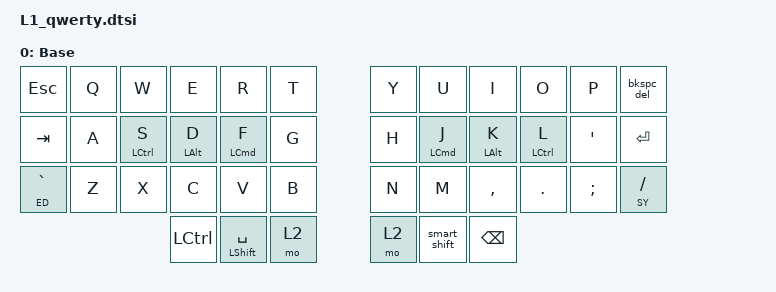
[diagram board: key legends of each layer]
/**
 * Alpha Layer - QWERTY (Base)
 * Optimized for developer workflow with quick access to common keys
 */

/ {
  keymap {
    compatible = "zmk,keymap";

    qwerty_layer {
      display-name = "Base";
      bindings = <
// ╭───────────────┬───────────────┬───────────────┬───────────────┬───────────────┬───────────────╮   ╭───────────────┬───────────────┬───────────────┬───────────────┬───────────────┬───────────────╮
// │0              │1              │2              │3              │4              │5              │   │6              │7              │8              │9              │10             │11             │
    &kp ESC         &kp Q           &kp W           &kp E           &kp R           &kp T               &kp Y           &kp U           &kp I           &kp O           &kp P           &bkspc_del
// ├───────────────├───────────────┼───────────────┼───────────────┼───────────────┼───────────────┤   ├───────────────├───────────────┼───────────────┼───────────────┼───────────────┼───────────────┤
// │12             │13             │14             │15             │16             │17             │   │18             │19             │20             │21             │22             │23             │
    &kp TAB         &kp A           &hrml LCTRL S   &hrml LALT D    &hrml LCMD F    &kp G               &kp H           &hrmr LCMD J    &hrmr LALT K    &hrmr LCTRL L   &kp SQT         &kp ENTER
// ├───────────────├───────────────┼───────────────┼───────────────┼───────────────┼───────────────┤   ├───────────────├───────────────┼───────────────┼───────────────┼───────────────┼───────────────┤
// │24             │25             │26             │27             │28             │29             │   │30             │31             │32             │33             │34             │35             │
    &lt ED GRAVE    &kp Z           &kp X           &kp C           &kp V           &kp B               &kp N           &kp M           &kp COMMA       &kp DOT         &kp SEMICOLON   &lt SY SLASH
// ╰───────────────┴───────────────┴───────────────┼───────────────┼───────────────┼───────────────┤   ├───────────────├───────────────┼───────────────┼───────────────┴───────────────┴───────────────╯
//                                                 │36             │37             │38             │   │39             │40             │41             │
                                                    &kp LCTRL       &mt LSHFT SPACE &mo L2              &mo L2          &smart_shift    &kp BSPC
//                                                 ╰───────────────┴───────────────┴───────────────╯   ╰───────────────┴───────────────┴───────────────╯
      >;
    };
  };
};
